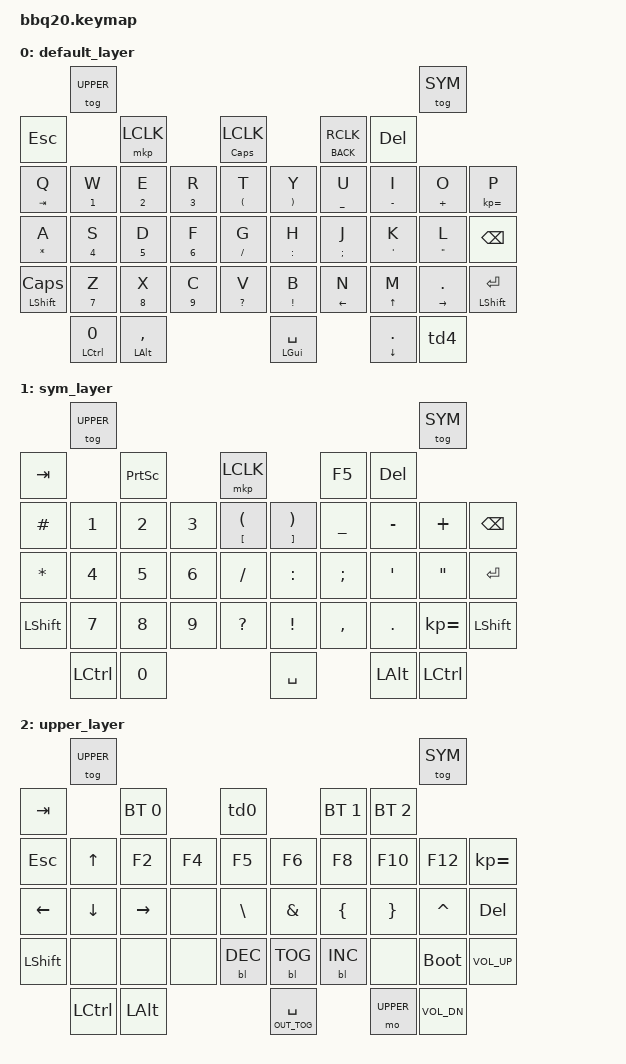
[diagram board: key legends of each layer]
/*
 * Copyright (c) 2023 ZitaoTech
 *
 * SPDX-License-Identifier: MIT
 */
 
#include <behaviors.dtsi>
#include <dt-bindings/zmk/keys.h>
#include <dt-bindings/zmk/bt.h>
#include <dt-bindings/zmk/outputs.h>
#include <dt-bindings/zmk/mouse.h>
#include <dt-bindings/zmk/backlight.h>
#include <dt-bindings/zmk/ext_power.h>

   
#define SYM 1
#define UPPER 2

&mt {
    flavor = "tap-preferred";
    tapping-term-ms = <200>;
    };

/ {

behaviors {
        hm: homerow_mods {
            compatible = "zmk,behavior-hold-tap";
            #binding-cells = <2>;
            tapping-term-ms = <500>;
            bindings = <&out &kp>;
        };
        hm1: homerow_mods_1 {
             compatible = "zmk,behavior-hold-tap";
             #binding-cells = <2>;
             tapping-term-ms = <300>;
             bindings = <&kp &mkp>;
        };
    };

    behaviors {
        td0: tap_dance_0 {
            compatible = "zmk,behavior-tap-dance";
            #binding-cells = <0>;
            tapping-term-ms = <400>;
            bindings = <&mkp LCLK>, <&bt BT_CLR>;
        };
    td4: tap_dance_4 {
            compatible = "zmk,behavior-tap-dance";
            #binding-cells = <0>;
            tapping-term-ms = <400>;
            bindings = <&kp LCTRL>, <&kp LALT>;
        };
    };
    
    keymap {
        compatible = "zmk,keymap";

        default_layer {

            bindings = <
//         --------------------------------------------------------------------------------------------------------------------------         
//         |    Shoulder Key1    |                                                                             |    Shoulder Key2    |     
// |         Call key      |      Blackberry Key        |    Trackpad    |             Back Key                |             Endcall Key          |
// |     Q      |     W    |     E    |     R    |      T      |       Y        |       U        |        I        |       O      |      P        |     
// |     A      |     S    |     D    |     F    |      G      |       H        |       J        |        K        |       L      |      ←        |  
// |     alt    |     Z    |     X    |     C    |      V      |       B        |       N        |        M        |       $      |    Enter      |   
//        |         aA     |         0           |           SPACE              |         SYM         |        aA          |       
//        -----------------------------------------------------------------------------------------------------------------

                      &tog UPPER                                                                                                     &tog SYM
    &kp ESC 	  	       	    		   &mkp LCLK           		   &hm1 CLCK LCLK		     &hm1 K_BACK RCLK		   	&kp DEL
    &mt TAB Q         &mt N1 W      &mt N2 E       &mt N3 R     &mt LPAR T         &mt RPAR Y      &mt UNDER U       &mt MINUS I     &mt PLUS O         &mt KP_EQUAL P
    &mt STAR A        &mt N4 S      &mt N5 D       &mt N6 F     &mt SLASH G        &mt COLON H     &mt SEMI J        &mt APOS K      &mt DQT L          &kp BSPC
    &mt LSHFT CLCK    &mt N7 Z      &mt N8 X       &mt N9 C     &mt QMARK V        &mt EXCL B      &mt LEFT N        &mt UP M        &mt RIGHT DOT      &mt LSHFT ENTER
    		      &mt LCTRL N0        	   &mt LALT COMMA              	   &mt LGUI SPACE                    &mt DOWN DOT    &td4           
		>;
	};

sym_layer {

            bindings = <        
                 &tog UPPER                                                                                          &tog SYM
    &kp TAB                 &kp PSCRN                    	&mkp LCLK                          &kp F5                            &kp DEL 
    &kp HASH     &kp N1     &kp N2      &kp N3    &mt LBKT LPAR &mt RBKT RPAR     &kp UNDER        &kp MINUS        &kp PLUS         &kp BSPC
    &kp STAR     &kp N4     &kp N5      &kp N6    &kp SLASH     &kp COLON         &kp SEMI         &kp APOS         &kp DQT          &kp ENTER
    &kp LSHFT    &kp N7     &kp N8      &kp N9    &kp QMARK     &kp EXCL          &kp COMMA        &kp DOT          &kp KP_EQUAL     &kp LSHFT
    &kp LCTRL               &kp N0                              &kp SPACE                          &kp LALT                          &kp LCTRL
            >;
        };

        upper_layer {

            bindings = <
                 &tog UPPER                                                                                  &tog SYM
    &kp TAB            	    &bt BT_SEL 0                             &td0                           &bt BT_SEL 1                     &bt BT_SEL 2
    &kp ESC      &kp UP     &kp F2      &kp F4     &kp F5            &kp F6        &kp F8           &kp F10         &kp F12	     &kp KP_EQUAL
    &kp LEFT     &kp DOWN   &kp RIGHT   &none      &kp BSLH          &kp AMPS      &kp LBRC         &kp RBRC        &kp CARET        &kp DEL
    &kp LSHFT    &none      &none       &none      &bl BL_DEC        &bl BL_TOG    &bl BL_INC       &none           &bootloader      &kp C_VOL_UP
    &kp LCTRL               &kp LALT                                 &hm OUT_TOG SPACE              &mo UPPER                        &kp C_VOL_DN
            >;
        };
    };
};
